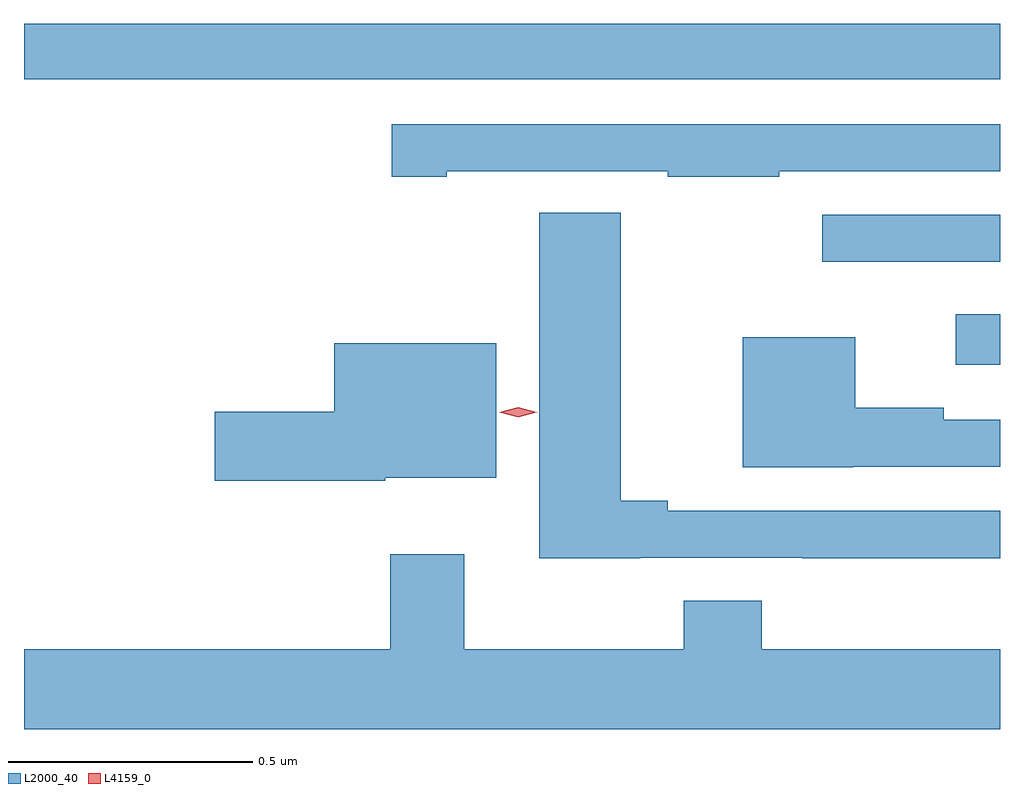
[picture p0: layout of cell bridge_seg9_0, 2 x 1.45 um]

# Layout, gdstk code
import gdstk
lib = gdstk.Library(unit=1e-6, precision=1e-09)
def R(c, l, rs):  # rectangles x0, y0, x1, y1
    for r in rs: c.add(gdstk.rectangle(r[:2], r[2:], *l))
def P(c, l, *ps):  # polygons
    for p in ps: c.add(gdstk.Polygon(p, *l))
L2000_40 = (2000, 40)
L4159_0 = (4159, 0)

bridge_seg9_0 = lib.new_cell('bridge_seg9_0')
R(bridge_seg9_0, L2000_40, [(1056.63,1245.119,1056.721,1245.223), (1056.357,1245.33,1056.721,1245.426), (1054.721,1245.704,1056.721,1245.818)])
P(bridge_seg9_0, L2000_40, [(1055.587,1245.516),(1056.04,1245.516),(1056.04,1245.504),(1056.269,1245.504),(1056.269,1245.516),(1056.721,1245.516),(1056.721,1245.612),(1055.475,1245.612),(1055.475,1245.504),(1055.587,1245.504)],
  [(1055.984,1244.724),(1056.316,1244.724),(1056.316,1244.723),(1056.721,1244.723),(1056.721,1244.82),(1056.04,1244.82),(1056.04,1244.84),(1055.944,1244.84),(1055.944,1245.431),(1055.777,1245.431),(1055.777,1244.723),(1055.984,1244.723)],
  [(1056.42,1244.91),(1056.721,1244.91),(1056.721,1245.006),(1056.606,1245.006),(1056.606,1245.031),(1056.424,1245.031),(1056.424,1245.175),(1056.194,1245.175),(1056.194,1244.909),(1056.42,1244.909)],
  [(1055.461,1244.888),(1055.689,1244.888),(1055.689,1245.163),(1055.357,1245.163),(1055.357,1245.023),(1055.112,1245.023),(1055.112,1244.881),(1055.461,1244.881)],
  [(1056.721,1244.536),(1056.233,1244.536),(1056.233,1244.635),(1056.073,1244.635),(1056.073,1244.536),(1055.623,1244.536),(1055.623,1244.731),(1055.471,1244.731),(1055.471,1244.536),(1054.721,1244.536),(1054.721,1244.372),(1056.721,1244.372)])
P(bridge_seg9_0, L4159_0, [(1055.734,1245.012),(1055.695,1245.022),(1055.694,1245.022),(1055.695,1245.022),(1055.734,1245.032),(1055.772,1245.022),(1055.773,1245.022),(1055.772,1245.022)])

lib.write_gds('bridge_seg9_0.gds')
